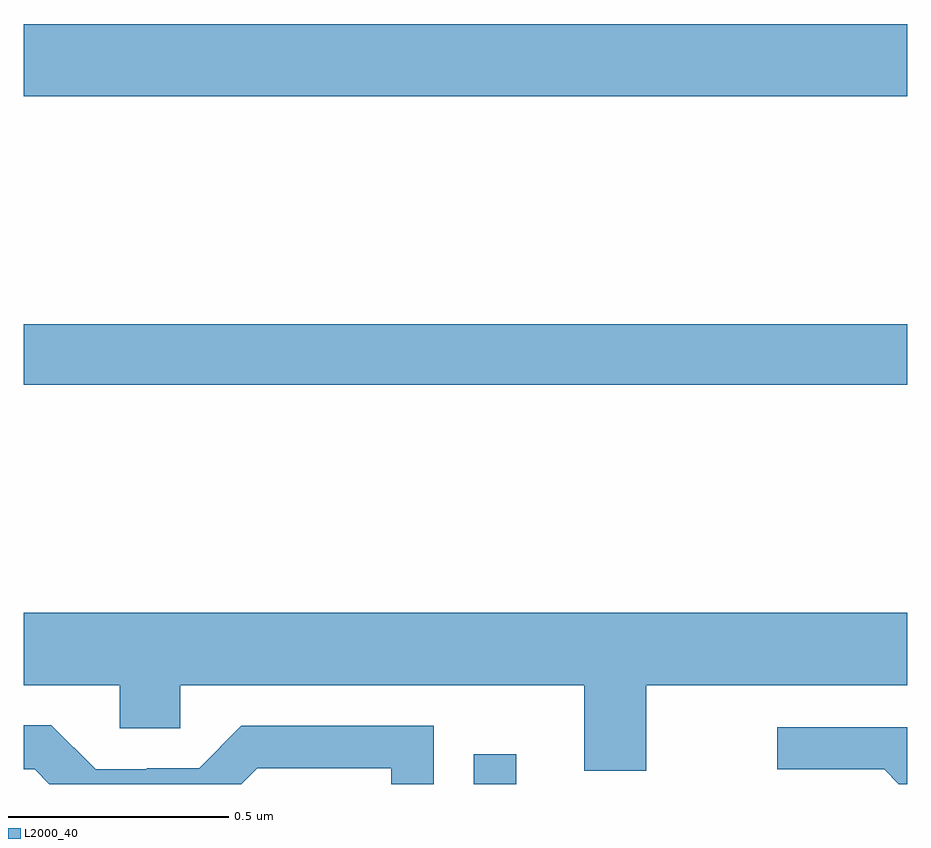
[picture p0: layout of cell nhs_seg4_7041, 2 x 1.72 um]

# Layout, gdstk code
import gdstk
lib = gdstk.Library(unit=1e-6, precision=1e-09)
def R(c, l, rs):  # rectangles x0, y0, x1, y1
    for r in rs: c.add(gdstk.rectangle(r[:2], r[2:], *l))
def P(c, l, *ps):  # polygons
    for p in ps: c.add(gdstk.Polygon(p, *l))
L2000_40 = (2000, 40)

nhs_seg4_7041 = lib.new_cell('nhs_seg4_7041')
R(nhs_seg4_7041, L2000_40, [(198.019,825.9,198.115,825.967), (197,826.804,199,826.94), (197,827.456,199,827.62)])
P(nhs_seg4_7041, L2000_40, [(198.409,826.124),(199,826.124),(199,826.288),(197,826.288),(197,826.124),(197.217,826.124),(197.217,826.026),(197.355,826.026),(197.355,826.124),(198.269,826.124),(198.269,825.93),(198.409,825.93)],
  [(197.529,825.936),(197.832,825.936),(197.832,825.9),(197.928,825.9),(197.928,826.032),(197.493,826.032),(197.397,825.936),(197.279,825.936),(197.279,825.933),(197.163,825.933),(197.063,826.033),(197,826.033),(197,825.933),(197.025,825.933),(197.058,825.9),(197.493,825.9)],
  [(199,826.029),(198.705,826.029),(198.705,825.933),(198.948,825.933),(198.981,825.9),(199,825.9)])

lib.write_gds('nhs_seg4_7041.gds')
